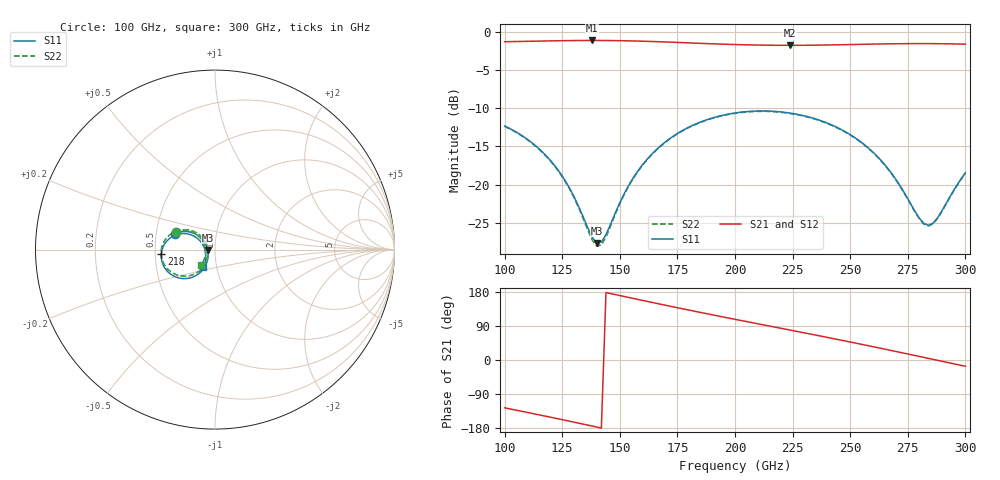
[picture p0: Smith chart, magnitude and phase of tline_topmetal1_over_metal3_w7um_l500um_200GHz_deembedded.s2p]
! Created with skrf 2.0.1 (http://scikit-rf.org).
# GHz S DB R 50.0
!freq dBS11 angS11 dBS21 angS21 dBS12 angS12 dBS22 angS22
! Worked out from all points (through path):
!   101 points, 100 GHz to 300 GHz, reference 50 ohm
!   highest |S21| = -1.14 dB at 138 GHz (marker M1); lowest = -1.8 dB at 224 GHz (marker M2)
!   group delay of S21, straight-line fit = 3.45 ps
!   lowest |S11| = -27.7 dB at 140 GHz (marker M3), VSWR 1.09, Z = 46 - j0.251 ohm
!   |S11| at or under -10 dB: start of sweep to end of sweep
!   |S22| runs from -28.1 to -10.4 dB; largest |S21 - S12| = 1e-13
!   S11 on the Smith chart (normalised r, x): 100 GHz: 0.62, +0.12; 218 GHz: 0.54, -0.03; 300 GHz: 0.86, -0.17
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100  -12.34 158.7  -1.31 -126.3  -1.31 -126.3  -12.39 155.8
110  -14.11 149.2  -1.26 -138.5  -1.26 -138.5  -14.16 145.9
120  -16.89 141.8  -1.20 -151.1  -1.20 -151.1  -16.96 138.1
128  -20.37 140.8  -1.16 -161.3  -1.16 -161.3  -20.48 136.6
134  -24.16 149.6  -1.15 -169.1  -1.15 -169.1  -24.37 145.0
138  -26.90 168.5  -1.14 -174.3  -1.14 -174.3  -27.25 164.2
140  -27.67 -176.2  -1.14 -176.9  -1.14 -176.9  -28.07 -180.0
144  -26.56 -145.2  -1.15 177.9  -1.15 177.9  -26.87 -147.8
150  -22.38 -124.3  -1.17 170.1  -1.17 170.1  -22.51 -127.1
156  -19.04 -120.5  -1.21 162.3  -1.21 162.3  -19.12 -123.8
168  -14.86 -126.4  -1.32 146.8  -1.32 146.8  -14.91 -130.3
184  -11.94 -141.0  -1.51 126.8  -1.51 126.8  -11.99 -145.5
200  -10.63 -157.0  -1.68 107.4  -1.68 107.4  -10.68 -162.0
218  -10.45 -175.0  -1.77 86.0  -1.77 86.0  -10.50 179.5
224  -10.65 179.1  -1.78 78.9  -1.78 78.9  -10.71 173.4
234  -11.33 169.5  -1.76 66.9  -1.76 66.9  -11.38 163.5
254  -14.28 152.5  -1.66 42.5  -1.66 42.5  -14.34 145.9
268  -18.55 147.5  -1.58 24.8  -1.58 24.8  -18.61 140.4
280  -24.41 170.2  -1.55 9.4  -1.55 9.4  -24.49 162.9
284  -25.33 -167.7  -1.56 4.2  -1.56 4.2  -25.42 -175.1
288  -24.32 -145.9  -1.57 -1.0  -1.57 -1.0  -24.40 -153.4
300  -18.46 -124.1  -1.63 -16.5  -1.63 -16.5  -18.53 -131.9
